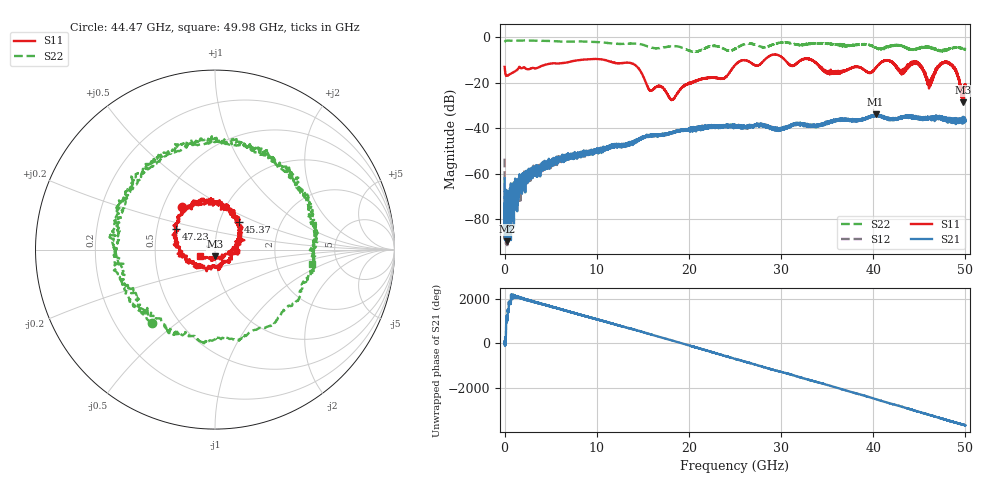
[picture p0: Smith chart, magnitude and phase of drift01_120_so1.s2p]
!Created with skrf (http://scikit-rf.org).
# Hz S RI R 50.0
!freq ReS11 ImS11 ReS21 ImS21 ReS12 ImS12 ReS22 ImS22
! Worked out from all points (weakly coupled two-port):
!   10001 points, 300 kHz to 50 GHz, reference 50 ohm
!   highest |S21| = -33.95 dB at 40.26 GHz (marker M1); lowest = -89.7 dB at 280.3 MHz (marker M2)
!   lowest |S11| = -28.5 dB at 49.72 GHz (marker M3), VSWR 1.08, Z = 50 - j3.76 ohm
!   |S11| at or under -10 dB: 10.92 GHz to 26.01 GHz (15.08 GHz wide, 81.7 % of centre); 33.37 GHz to 41.56 GHz (8.194 GHz wide, 21.9 % of centre); 41.57 GHz to end of sweep (the widest 3 of 14)
!   |S22| runs from -6.4 to -1.4 dB; largest |S21 - S12| = 0.0038
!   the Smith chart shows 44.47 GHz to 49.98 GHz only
!   S11 on the Smith chart (normalised r, x): 44.47 GHz: 0.62, +0.32; 45.37 GHz: 1.23, +0.40; 47.23 GHz: 0.63, +0.15; 49.98 GHz: 0.85, -0.06
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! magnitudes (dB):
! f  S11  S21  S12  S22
! 300 kHz  -13.0  -62.1  -53.4  -2.1
! 280.3 MHz  -16.9  -89.7  -72.4  -1.4
! 2.975 GHz  -13.5  -58.9  -59.5  -1.4
! 8.335 GHz  -9.9  -51.1  -50.6  -1.8
! 13.8 GHz  -11.4  -46.3  -46.5  -2.7
! 15.75 GHz  -23.3  -43.5  -43.2  -4.2
! 16.67 GHz  -21.4  -43.3  -43.2  -4.8
! 18.21 GHz  -27.3  -42.0  -41.9  -3.9
! 25 GHz  -12.2  -38.9  -38.8  -5.1
! 33.34 GHz  -10.0  -38.9  -39.0  -2.6
! 35.14 GHz  -16.0  -37.7  -37.4  -2.8
! 40.26 GHz  -13.6  -33.9  -34.3  -4.6
! 41.67 GHz  -10.2  -36.2  -36.1  -4.3
! 43.08 GHz  -14.9  -35.6  -35.4  -3.8
! 44.47 GHz  -10.5  -35.1  -34.9  -5.4
! 45.37 GHz  -13.9  -35.8  -35.8  -4.4
! 46.12 GHz  -20.1  -35.6  -35.1  -4.3
! 47.23 GHz  -12.2  -36.0  -35.2  -5.7
! 48.65 GHz  -12.7  -36.4  -36.3  -4.7
! 49.72 GHz  -28.5  -36.3  -35.9  -5.1
! 49.98 GHz  -21.0  -37.3  -35.6  -5.3
! 50 GHz  -20.6  -36.4  -36.5  -5.4
